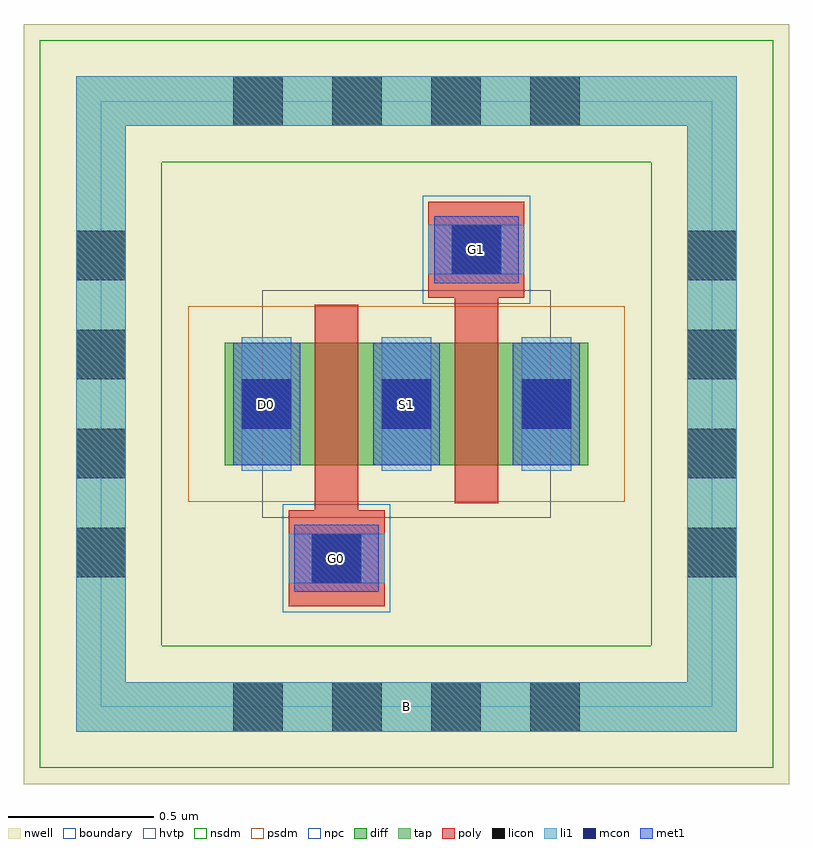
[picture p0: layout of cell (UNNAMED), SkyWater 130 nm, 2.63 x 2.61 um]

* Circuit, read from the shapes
.subckt (UNNAMED) B D0 G0 G1 S1
XM1 S1 G0 D0 B sky130_fd_pr__pfet_01v8_hvt w=0.42 l=0.15
XM2 n1 G1 S1 B sky130_fd_pr__pfet_01v8_hvt w=0.42 l=0.15
.ends

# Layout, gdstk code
import gdstk
lib = gdstk.Library(unit=1e-6, precision=1e-09)
def R(c, l, rs):  # rectangles x0, y0, x1, y1
    for r in rs: c.add(gdstk.rectangle(r[:2], r[2:], *l))
def A(c, l, x, y, w, h, nx, ny, dx, dy):  # array of equal rectangles
    R(c, l, [(x+i*dx, y+j*dy, x+i*dx+w, y+j*dy+h) for i in range(nx) for j in range(ny)])
nwell = (64, 20)
diff = (65, 20)
tap = (65, 44)
poly = (66, 20)
licon = (66, 44)
li1 = (67, 20)
mcon = (67, 44)
met1 = (68, 20)
hvtp = (78, 44)
nsdm = (93, 44)
psdm = (94, 20)
npc = (95, 20)
boundary = (235, 4)

c__unnamed_ = lib.new_cell('(UNNAMED)')
R(c__unnamed_, nwell, [(-1.315,-1.305,1.315,1.305)])
R(c__unnamed_, diff, [(-0.625,-0.21,0.625,0.21)])
R(c__unnamed_, tap, [(-1.135,-1.125,1.135,-0.955), (-1.135,-0.955,-0.965,0.955), (0.965,-0.955,1.135,0.955), (-1.135,0.955,1.135,1.125)])
R(c__unnamed_, poly, [(-0.405,-0.695,-0.075,-0.365), (-0.315,-0.365,-0.165,0.34), (0.165,-0.34,0.315,0.365), (0.075,0.365,0.405,0.695)])
A(c__unnamed_, licon, -0.595, -1.125, 0.17, 0.17, 4, 2, 0.34, 2.08)
A(c__unnamed_, licon, -1.135, -0.595, 0.17, 0.17, 1, 4, 0, 0.34)
A(c__unnamed_, licon, 0.965, -0.595, 0.17, 0.17, 1, 4, 0, 0.34)
A(c__unnamed_, licon, -0.565, -0.085, 0.17, 0.17, 3, 1, 0.48, 0)
R(c__unnamed_, licon, [(-0.325,-0.615,-0.155,-0.445), (0.155,0.445,0.325,0.615)])
A(c__unnamed_, li1, -0.565, -0.23, 0.17, 0.46, 3, 1, 0.48, 0)
R(c__unnamed_, li1, [(-1.135,-1.125,1.135,-0.955), (-1.135,-0.955,-0.965,0.955), (0.965,-0.955,1.135,0.955), (-0.405,-0.615,-0.075,-0.445), (0.075,0.445,0.405,0.615), (-1.135,0.955,1.135,1.125)])
A(c__unnamed_, mcon, -0.565, -0.085, 0.17, 0.17, 3, 1, 0.48, 0)
R(c__unnamed_, mcon, [(-0.325,-0.615,-0.155,-0.445), (0.155,0.445,0.325,0.615)])
A(c__unnamed_, met1, -0.595, -0.21, 0.23, 0.42, 3, 1, 0.48, 0)
R(c__unnamed_, met1, [(-0.385,-0.645,-0.095,-0.415), (0.095,0.415,0.385,0.645)])
R(c__unnamed_, hvtp, [(-0.495,-0.39,0.495,0.39)])
R(c__unnamed_, nsdm, [(-1.26,-1.25,1.26,-0.83), (-1.26,-0.83,-0.84,0.83), (0.84,-0.83,1.26,0.83), (-1.26,0.83,1.26,1.25)])
R(c__unnamed_, psdm, [(-0.75,-0.335,0.75,0.335)])
R(c__unnamed_, npc, [(-0.425,-0.715,-0.055,-0.345), (0.055,0.345,0.425,0.715)])
R(c__unnamed_, boundary, [(-1.05,-1.04,1.05,1.04)])
c__unnamed_.add(gdstk.Label('B', (0,-1.04), layer=67, texttype=5))
c__unnamed_.add(gdstk.Label('D0', (-0.48,0), layer=67, texttype=5))
c__unnamed_.add(gdstk.Label('G0', (-0.24,-0.53), layer=67, texttype=5))
c__unnamed_.add(gdstk.Label('S1', (0,0), layer=67, texttype=5))
c__unnamed_.add(gdstk.Label('G1', (0.24,0.53), layer=67, texttype=5))

lib.write_gds('_UNNAMED_.gds')
